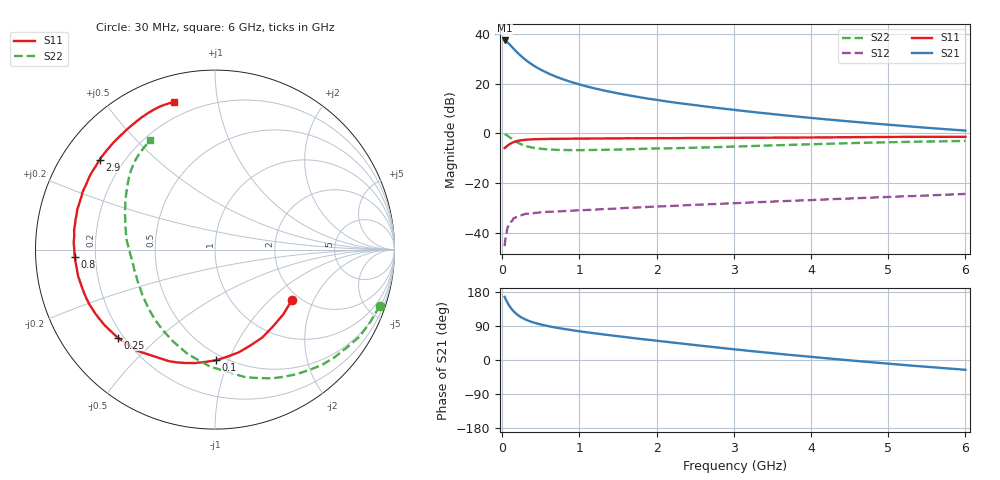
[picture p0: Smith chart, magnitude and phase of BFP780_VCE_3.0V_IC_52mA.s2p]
! Infineon Technologies  Discrete & RF Semiconductors
! BFP780
! VCE =  3.0 V,  IC =  52 mA
! Common Emitter S-Parameters:  Jul 2015
# GHz  S  MA  R  50
!  f  S11  S21  S12  S22
! GHz  MAG  ANG  MAG  ANG  MAG  ANG  MAG  ANG
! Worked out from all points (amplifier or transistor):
!   75 points, 30 MHz to 6 GHz, reference 50 ohm
!   highest |S21| = 37.3 dB at 30 MHz (marker M1)
!   |S21| within 3 dB of that: start of sweep to 137.3 MHz
!   unconditionally stable (mu >= 1): 2.014 GHz to end of sweep
!   at 150 MHz: K = 0.13, MSG = 33.9 dB, |S12| = -34.0 dB
!   at 2.3 GHz: K = 1.09, MAG = 18.7 dB, |S12| = -28.9 dB
!   at 6 GHz: K = 1.30, MAG = 9.4 dB, |S12| = -24.2 dB
!   S11 on the Smith chart (normalised r, x): 30 MHz: 1.81, -1.39; 100 MHz: 0.45, -0.90; 250 MHz: 0.18, -0.37; 800 MHz: 0.12, -0.03; 2.9 GHz: 0.11, +0.34; 6 GHz: 0.12, +0.75
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0.03  0.5125 -33.5  73.01 166.7  0.0055 77.0  0.9699 -18.8
0.05  0.536 -52.8  69.99 157.9  0.0091 70.3  0.94 -31.0
0.06  0.5563 -61.7  68.17 154.1  0.0113 63.8  0.9151 -36.6
0.08  0.5871 -76.8  64.01 146.7  0.0138 60.5  0.8758 -47.3
0.1  0.6163 -89.4  59.54 140.5  0.0161 56.5  0.8285 -57.0
0.12  0.6415 -99.9  55.23 134.8  0.0173 50.6  0.7858 -65.8
0.15  0.6726 -112.5  49.28 127.8  0.02 42.4  0.7275 -77.1
0.2  0.7106 -127.4  41.04 118.8  0.0215 37.5  0.6521 -92.5
0.25  0.7314 -137.9  34.81 112.1  0.023 32.7  0.6017 -104.6
0.3  0.7459 -145.7  29.95 106.9  0.0244 29.1  0.5628 -114.5
0.35  0.7558 -151.7  26.2 102.7  0.0248 26.5  0.536 -122.5
0.45  0.7672 -160.2  20.86 96.3  0.0257 23.0  0.5036 -134.5
0.6  0.7769 -169.0  15.87 89.2  0.0269 21.3  0.4788 -147.2
0.8  0.7832 -177.0  11.97 81.9  0.0278 20.3  0.4655 -158.3
1.1  0.7879 174.4  8.697 73.0  0.0292 20.6  0.4633 -169.2
1.5  0.7952 165.8  6.349 62.8  0.0314 21.2  0.4752 -178.8
2.1  0.8046 155.0  4.453 48.5  0.0347 21.6  0.5007 171.1
2.9  0.8142 142.0  3.095 30.5  0.0393 21.8  0.5391 158.5
3.1  0.817 139.1  2.852 26.3  0.0405 21.8  0.5507 155.4
4.1  0.8315 125.0  1.98 6.4  0.0469 19.7  0.6134 142.2
5.1  0.8512 113.8  1.454 -11.4  0.0541 16.4  0.67 130.9
6  0.8544 105.7  1.14 -25.9  0.0614 11.9  0.7074 120.6
